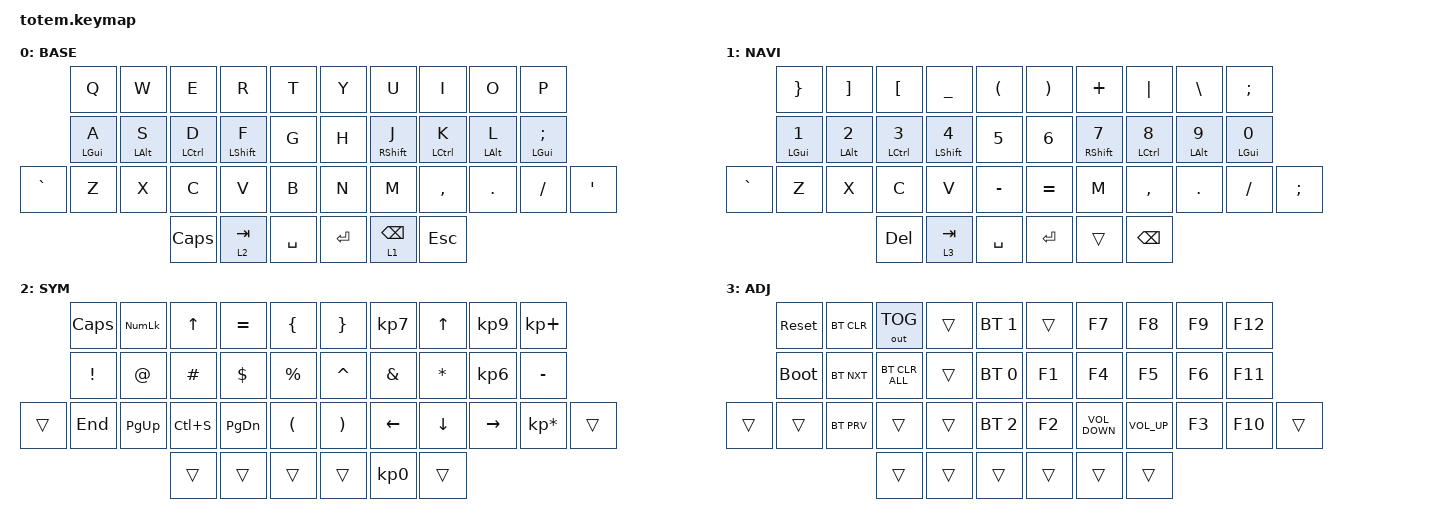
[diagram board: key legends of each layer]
//
//                                                        ▀▀▀▀▀     ▀▀▀▀▀          ▀▀█▀▀
//                                                        ▄▀▀▀▄  ▄  ▄▀▀▀▄  ▄  ▄▀▀▀▄  █  ▄▀▀▀▄
//                                                        █   █  █  █   █  █  █   █  █  █   █
//                                                         ▀▀▀   █   ▀▀▀   █   ▀▀▀   ▀   ▀▀▀
//                                                               █      ▄▄▄█▄▄▄    █   █  
//                                                               ▀      █  █  █     █▄█
//                                                             ▀▀▀▀▀    █  █  █      ▀
//                                                                      ▀  ▀  ▀
//
// ▄▄▄▄▄▄▄▄▄▄▄▄▄▄▄▄▄▄▄▄▄▄▄▄▄▄▄▄▄▄▄▄▄▄▄▄▄▄▄▄▄▄▄▄▄▄▄▄▄▄▄▄▄▄▄▄▄▄▄▄▄▄▄▄▄▄▄▄▄▄▄▄▄▄▄▄▄▄▄▄▄▄▄▄▄▄▄▄▄▄▄▄▄▄▄▄▄▄▄▄▄▄▄▄▄▄▄▄▄▄▄▄▄▄▄▄▄▄▄▄▄▄▄▄▄▄▄▄▄▄▄▄▄▄▄▄▄▄▄▄▄▄▄▄▄▄▄▄▄

#include <behaviors.dtsi>
#include <dt-bindings/zmk/bt.h>
#include <dt-bindings/zmk/keys.h>
#include <dt-bindings/zmk/outputs.h>

#define BASE 0
#define NAV  1
#define SYM  2
#define ADJ  3

&mt {
    flavor = "tap-preferred";
    tapping-term-ms = <180>;
    quick-tap-ms = <150>;
};

&lt {
    quick-tap-ms = <150>;
    tapping-term-ms = <190>;
};

/ {
    combos {
        compatible = "zmk,combos";

        layer-adjust {
            bindings = <&mo 3>;
            key-positions = <33 36>;
            layers = <0 1 2>;
        };

        mac-left-window {
            bindings = <&kp LC(LEFT)>;
            key-positions = <13 12 11>;
        };

        mac-right-window {
            bindings = <&kp LC(RIGHT)>;
            key-positions = <16 17 18>;
        };
    };

    keymap {
        compatible = "zmk,keymap";

        // ▄▄▄▄▄▄▄▄▄▄▄▄▄▄▄▄▄▄▄▄▄▄▄▄▄▄▄▄▄▄▄▄▄▄▄▄▄▄▄▄▄▄▄▄▄▄▄▄▄▄▄▄▄▄▄▄▄▄▄▄▄▄▄▄▄▄▄▄▄▄▄▄▄▄▄▄▄▄▄▄▄▄▄▄▄▄▄▄▄▄▄▄▄▄▄▄▄▄▄▄▄▄▄▄▄▄▄▄▄▄▄▄▄▄▄▄▄▄▄▄▄▄▄▄▄▄▄▄▄▄▄▄▄▄▄▄▄▄▄▄▄▄▄▄▄▄▄▄▄

        base_layer {
            label = "BASE";
            bindings = <
           &kp Q       &kp W       &kp E        &kp R        &kp T        &kp Y    &kp U            &kp I        &kp O       &kp P
           &mt LGUI A  &mt LALT S  &mt LCTRL D  &mt LSHFT F  &kp G        &kp H    &mt RSHFT J      &mt LCTRL K  &mt LALT L  &mt LGUI SEMICOLON
&kp GRAVE  &kp Z       &kp X       &kp C        &kp V        &kp B        &kp N    &kp M            &kp COMMA    &kp DOT     &kp SLASH           &kp SINGLE_QUOTE
                                   &kp CAPS     &lt 2 TAB    &kp SPACE    &kp RET  &lt 1 BACKSPACE  &kp ESCAPE
            >;
        };

        // ▄▄▄▄▄▄▄▄▄▄▄▄▄▄▄▄▄▄▄▄▄▄▄▄▄▄▄▄▄▄▄▄▄▄▄▄▄▄▄▄▄▄▄▄▄▄▄▄▄▄▄▄▄▄▄▄▄▄▄▄▄▄▄▄▄▄▄▄▄▄▄▄▄▄▄▄▄▄▄▄▄▄▄▄▄▄▄▄▄▄▄▄▄▄▄▄▄▄▄▄▄▄▄▄▄▄▄▄▄▄▄▄▄▄▄▄▄▄▄▄▄▄▄▄▄▄▄▄▄▄▄▄▄▄▄▄▄▄▄▄▄▄▄▄▄▄▄▄▄

        nav_layer {
            label = "NAVI";
            bindings = <
           &kp RBRC     &kp RBKT     &kp LBKT      &kp UNDER     &kp LPAR     &kp RPAR   &kp PLUS      &kp PIPE      &kp BSLH     &kp SEMI
           &mt LGUI N1  &mt LALT N2  &mt LCTRL N3  &mt LSHFT N4  &kp N5       &kp N6     &mt RSHFT N7  &mt LCTRL N8  &mt LALT N9  &mt LGUI N0
&kp GRAVE  &kp Z        &kp X        &kp C         &kp V         &kp MINUS    &kp EQUAL  &kp M         &kp COMMA     &kp DOT      &kp SLASH    &kp SEMI
                                     &kp DEL       &lt 3 TAB     &kp SPACE    &kp RET    &trans        &kp BSPC
            >;
        };

        // ▄▄▄▄▄▄▄▄▄▄▄▄▄▄▄▄▄▄▄▄▄▄▄▄▄▄▄▄▄▄▄▄▄▄▄▄▄▄▄▄▄▄▄▄▄▄▄▄▄▄▄▄▄▄▄▄▄▄▄▄▄▄▄▄▄▄▄▄▄▄▄▄▄▄▄▄▄▄▄▄▄▄▄▄▄▄▄▄▄▄▄▄▄▄▄▄▄▄▄▄▄▄▄▄▄▄▄▄▄▄▄▄▄▄▄▄▄▄▄▄▄▄▄▄▄▄▄▄▄▄▄▄▄▄▄▄▄▄▄▄▄▄▄▄▄▄▄▄▄

        sim_layer {
            label = "SYM";
            bindings = <
        &kp CAPS  &kp KP_NLCK  &kp UP     &kp EQUAL  &kp LBRC     &kp RBRC   &kp KP_N7  &kp UP     &kp KP_N9  &kp KP_PLUS
        &kp EXCL  &kp AT       &kp HASH   &kp DLLR   &kp PRCNT    &kp CARET  &kp AMPS   &kp ASTRK  &kp KP_N6  &kp MINUS
&trans  &kp END   &kp PG_UP    &kp LC(S)  &kp PG_DN  &kp LPAR     &kp RPAR   &kp LEFT   &kp DOWN   &kp RIGHT  &kp KP_MULTIPLY  &trans
                               &trans     &trans     &trans       &trans     &kp KP_N0  &trans
            >;
        };

        // ▄▄▄▄▄▄▄▄▄▄▄▄▄▄▄▄▄▄▄▄▄▄▄▄▄▄▄▄▄▄▄▄▄▄▄▄▄▄▄▄▄▄▄▄▄▄▄▄▄▄▄▄▄▄▄▄▄▄▄▄▄▄▄▄▄▄▄▄▄▄▄▄▄▄▄▄▄▄▄▄▄▄▄▄▄▄▄▄▄▄▄▄▄▄▄▄▄▄▄▄▄▄▄▄▄▄▄▄▄▄▄▄▄▄▄▄▄▄▄▄▄▄▄▄▄▄▄▄▄▄▄▄▄▄▄▄▄▄▄▄▄▄▄▄▄▄▄▄▄

        adjust_layer {
            label = "ADJ";
            bindings = <
        &sys_reset   &bt BT_CLR  &out OUT_TOG    &trans  &bt BT_SEL 1    &trans  &kp F7             &kp F8           &kp F9  &kp F12
        &bootloader  &bt BT_NXT  &bt BT_CLR_ALL  &trans  &bt BT_SEL 0    &kp F1  &kp F4             &kp F5           &kp F6  &kp F11
&trans  &trans       &bt BT_PRV  &trans          &trans  &bt BT_SEL 2    &kp F2  &kp C_VOLUME_DOWN  &kp C_VOLUME_UP  &kp F3  &kp F10  &trans
                                 &trans          &trans  &trans          &trans  &trans             &trans
            >;
        };
    };
};
